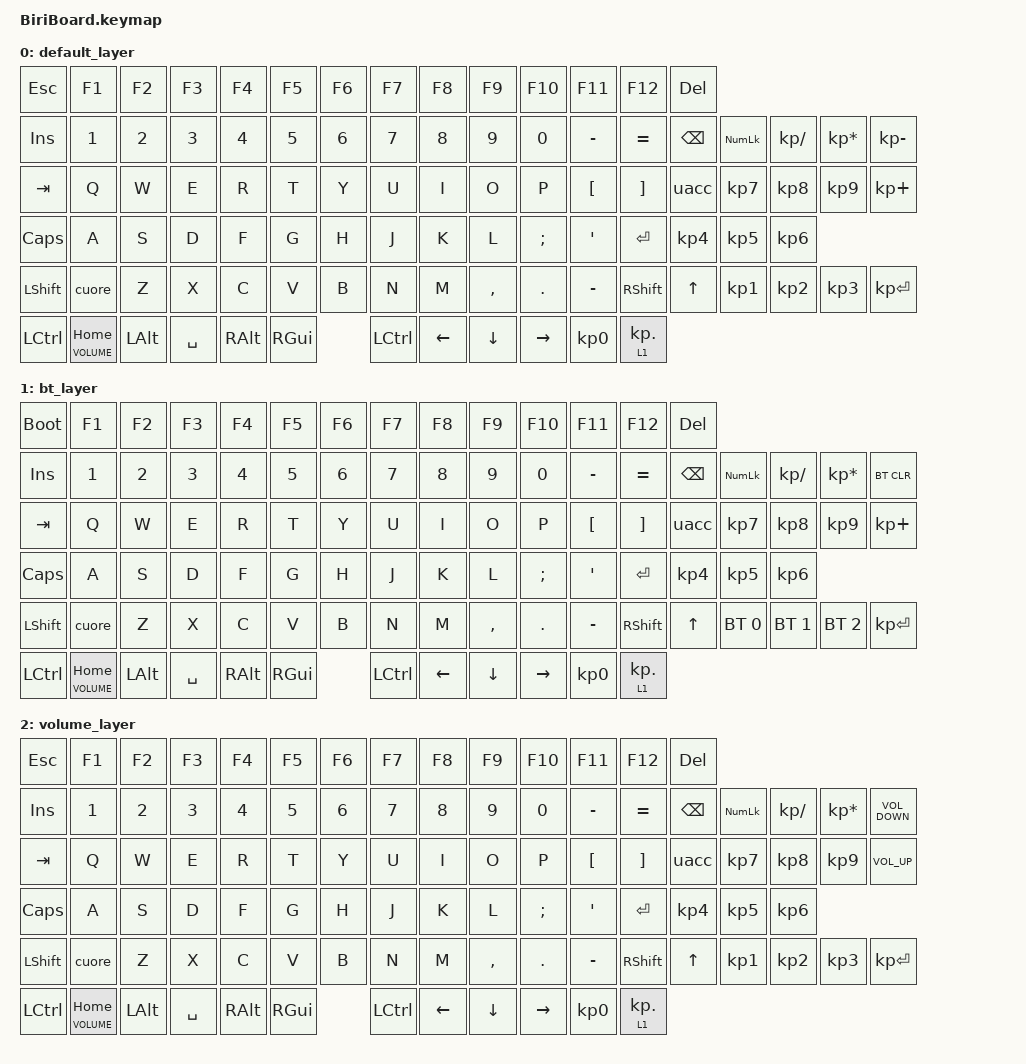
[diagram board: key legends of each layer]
#include <behaviors.dtsi>
#include <dt-bindings/zmk/keys.h>
#include <dt-bindings/zmk/bt.h>
#define VOLUME 2

/ {
    macros {
        uacc: uacc {
            label = "uacc";
            compatible = "zmk,behavior-macro";
            #binding-cells = <0>;
            bindings
                = <&macro_press &kp LALT>
                , <&macro_tap &kp KP_N1 &kp KP_N5 &kp KP_N1>
                , <&macro_release &kp LALT>
                ;
        };

        cuore: cuore {
            label = "cuore";
            compatible = "zmk,behavior-macro";
            #binding-cells = <0>;
            bindings
                = <&macro_press &kp LALT>
                , <&macro_tap &kp KP_N1 &kp KP_N0 &kp KP_N0 &kp KP_N8 &kp KP_N4>
                , <&macro_release &kp LALT>
                ;
        };
    };
};

/ {
    keymap {
        compatible = "zmk,keymap";

        default_layer {
            bindings = <
            &kp ESC       &kp F1     &kp F2     &kp F3     &kp F4    &kp F5    &kp F6     &kp F7     &kp F8    &kp F9      &kp F10      &kp F11      &kp F12      &kp DEL 
            &kp INS       &kp N1     &kp N2     &kp N3     &kp N4    &kp N5    &kp N6     &kp N7     &kp N8    &kp N9      &kp N0       &kp MINUS    &kp EQUAL    &kp BSPC    &kp KP_NUM   &kp KP_DIVIDE   &kp KP_MULTIPLY    &kp KP_MINUS
            &kp TAB       &kp Q      &kp W      &kp E      &kp R     &kp T     &kp Y      &kp U      &kp I     &kp O       &kp P        &kp LBKT     &kp RBKT     &uacc       &kp KP_N7    &kp KP_N8       &kp KP_N9          &kp KP_PLUS
            &kp CAPS      &kp A      &kp S      &kp D      &kp F     &kp G     &kp H      &kp J      &kp K     &kp L       &kp SEMI     &kp SQT      &kp ENTER    &kp KP_N4   &kp KP_N5    &kp KP_N6
            &kp LSHIFT    &cuore     &kp Z      &kp X      &kp C     &kp V     &kp B      &kp N      &kp M     &kp COMMA   &kp DOT      &kp MINUS    &kp RSHIFT   &kp UP      &kp KP_N1    &kp KP_N2       &kp KP_N3          &kp KP_ENTER
            &kp LCTRL     &lt VOLUME HOME   &kp LALT   &kp SPACE  &kp RALT  &kp RGUI  &kp LCTRL  &kp LEFT   &kp DOWN  &kp RIGHT   &kp KP_N0    &lt 1 KP_DOT
            >;
            };

        bt_layer {
            bindings = <
            &bootloader       &kp F1     &kp F2     &kp F3     &kp F4    &kp F5    &kp F6     &kp F7     &kp F8    &kp F9      &kp F10      &kp F11      &kp F12      &kp DEL 
            &kp INS       &kp N1     &kp N2     &kp N3     &kp N4    &kp N5    &kp N6     &kp N7     &kp N8    &kp N9      &kp N0       &kp MINUS    &kp EQUAL    &kp BSPC    &kp KP_NUM   &kp KP_DIVIDE   &kp KP_MULTIPLY    &bt BT_CLR
            &kp TAB       &kp Q      &kp W      &kp E      &kp R     &kp T     &kp Y      &kp U      &kp I     &kp O       &kp P        &kp LBKT     &kp RBKT     &uacc       &kp KP_N7    &kp KP_N8       &kp KP_N9          &kp KP_PLUS
            &kp CAPS      &kp A      &kp S      &kp D      &kp F     &kp G     &kp H      &kp J      &kp K     &kp L       &kp SEMI     &kp SQT      &kp ENTER    &kp KP_N4   &kp KP_N5    &kp KP_N6
            &kp LSHIFT    &cuore     &kp Z      &kp X      &kp C     &kp V     &kp B      &kp N      &kp M     &kp COMMA   &kp DOT      &kp MINUS    &kp RSHIFT   &kp UP      &bt BT_SEL 0    &bt BT_SEL 1       &bt BT_SEL 2          &kp KP_ENTER
            &kp LCTRL     &lt VOLUME HOME   &kp LALT   &kp SPACE  &kp RALT  &kp RGUI  &kp LCTRL  &kp LEFT   &kp DOWN  &kp RIGHT   &kp KP_N0    &lt 1 KP_DOT
            >;
            };

        volume_layer {
            bindings = <
            &kp ESC       &kp F1     &kp F2     &kp F3     &kp F4    &kp F5    &kp F6     &kp F7     &kp F8    &kp F9      &kp F10      &kp F11      &kp F12      &kp DEL 
            &kp INS       &kp N1     &kp N2     &kp N3     &kp N4    &kp N5    &kp N6     &kp N7     &kp N8    &kp N9      &kp N0       &kp MINUS    &kp EQUAL    &kp BSPC    &kp KP_NUM   &kp KP_DIVIDE   &kp KP_MULTIPLY    &kp C_VOLUME_DOWN
            &kp TAB       &kp Q      &kp W      &kp E      &kp R     &kp T     &kp Y      &kp U      &kp I     &kp O       &kp P        &kp LBKT     &kp RBKT     &uacc       &kp KP_N7    &kp KP_N8       &kp KP_N9          &kp C_VOLUME_UP
            &kp CAPS      &kp A      &kp S      &kp D      &kp F     &kp G     &kp H      &kp J      &kp K     &kp L       &kp SEMI     &kp SQT      &kp ENTER    &kp KP_N4   &kp KP_N5    &kp KP_N6
            &kp LSHIFT    &cuore     &kp Z      &kp X      &kp C     &kp V     &kp B      &kp N      &kp M     &kp COMMA   &kp DOT      &kp MINUS    &kp RSHIFT   &kp UP      &kp KP_N1    &kp KP_N2       &kp KP_N3          &kp KP_ENTER
            &kp LCTRL     &lt VOLUME HOME   &kp LALT   &kp SPACE  &kp RALT  &kp RGUI &kp LCTRL  &kp LEFT   &kp DOWN  &kp RIGHT   &kp KP_N0    &lt 1 KP_DOT
            >;
            };
          

       
        
        };
        };
        
        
